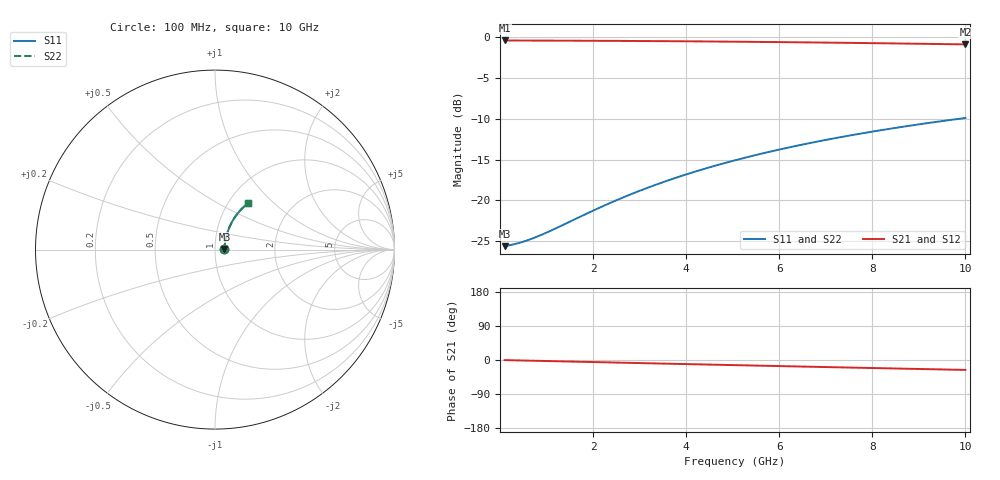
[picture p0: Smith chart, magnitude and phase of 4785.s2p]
# Hz S RI R 50.00
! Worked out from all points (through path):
!   100 points, 100 MHz to 10 GHz, reference 50 ohm
!   highest |S21| = -0.47 dB at 100 MHz (marker M1); lowest = -0.9 dB at 10 GHz (marker M2)
!   group delay of S21, straight-line fit = 7.28 ps
!   lowest |S11| = -25.6 dB at 100 MHz (marker M3), VSWR 1.11, Z = 55.5 + j0.349 ohm
!   |S11| at or under -10 dB: start of sweep to 9.907 GHz
!   |S22| runs from -25.6 to -9.9 dB; largest |S21 - S12| = 0
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1e8  0.0525 0.00313  0.9475 -0.00449  0.9475 -0.00449  0.0525 0.00313
3e8  0.0532 0.00939  0.9468 -0.0135  0.9468 -0.0135  0.0532 0.00939
4e8  0.0535 0.0125  0.9465 -0.0179  0.9465 -0.0179  0.0535 0.0125
5e8  0.0538 0.0156  0.9462 -0.0224  0.9462 -0.0224  0.0538 0.0156
7e8  0.0544 0.0219  0.9455 -0.0313  0.9455 -0.0313  0.0544 0.0219
9e8  0.0551 0.0281  0.9448 -0.0403  0.9448 -0.0403  0.0551 0.0281
1.1e9  0.0559 0.0343  0.944 -0.0492  0.944 -0.0492  0.0559 0.0343
1.8e9  0.0594 0.0558  0.9402 -0.0802  0.9402 -0.0802  0.0594 0.0558
2.2e9  0.062 0.0679  0.9375 -0.0977  0.9375 -0.0977  0.062 0.0679
2.6e9  0.065 0.08  0.9343 -0.1152  0.9343 -0.1152  0.065 0.08
3e9  0.0684 0.0918  0.9307 -0.1325  0.9307 -0.1325  0.0684 0.0918
3.4e9  0.0723 0.1035  0.9266 -0.1496  0.9266 -0.1496  0.0723 0.1035
3.8e9  0.0765 0.1151  0.9221 -0.1666  0.9221 -0.1666  0.0765 0.1151
4.2e9  0.0812 0.1264  0.9171 -0.1833  0.9171 -0.1833  0.0812 0.1264
4.6e9  0.0862 0.1375  0.9117 -0.1999  0.9117 -0.1999  0.0862 0.1375
5.1e9  0.0931 0.151  0.9044 -0.2202  0.9044 -0.2202  0.0931 0.151
5.9e9  0.1052 0.1718  0.8914 -0.2519  0.8914 -0.2519  0.1052 0.1718
6.7e9  0.1187 0.1915  0.877 -0.2825  0.877 -0.2825  0.1187 0.1915
7.5e9  0.1334 0.21  0.8612 -0.3119  0.8612 -0.3119  0.1334 0.21
8.4e9  0.1513 0.2292  0.842 -0.3435  0.842 -0.3435  0.1513 0.2292
9.2e9  0.1681 0.2448  0.8237 -0.3701  0.8237 -0.3701  0.1681 0.2448
1e10  0.1858 0.259  0.8045 -0.3953  0.8045 -0.3953  0.1858 0.259
